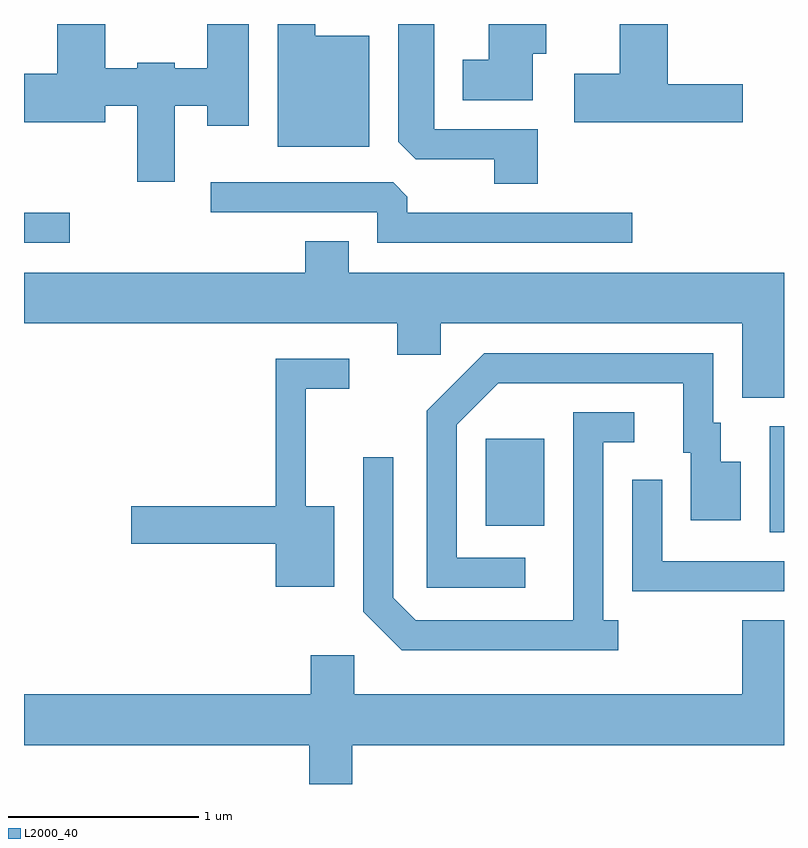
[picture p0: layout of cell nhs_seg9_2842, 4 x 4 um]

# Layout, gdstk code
import gdstk
lib = gdstk.Library(unit=1e-6, precision=1e-09)
def R(c, l, rs):  # rectangles x0, y0, x1, y1
    for r in rs: c.add(gdstk.rectangle(r[:2], r[2:], *l))
def P(c, l, *ps):  # polygons
    for p in ps: c.add(gdstk.Polygon(p, *l))
L2000_40 = (2000, 40)

nhs_seg9_2842 = lib.new_cell('nhs_seg9_2842')
R(nhs_seg9_2842, L2000_40, [(271.536,2061.756,271.611,2062.314), (270.041,2061.791,270.349,2062.249), (267.611,2063.281,267.853,2063.439)])
P(nhs_seg9_2842, L2000_40, [(268.404,2064.001),(268.576,2064.001),(268.576,2063.896),(268.794,2063.896),(268.794,2064.432),(268.576,2064.432),(268.576,2064.199),(268.404,2064.199),(268.404,2064.229),(268.206,2064.229),(268.206,2064.199),(268.039,2064.199),(268.039,2064.432),(267.786,2064.432),(267.786,2064.169),(267.611,2064.169),(267.611,2063.916),(268.039,2063.916),(268.039,2064.001),(268.206,2064.001),(268.206,2063.601),(268.404,2063.601)],
  [(271.394,2064.114),(270.999,2064.114),(270.999,2064.432),(270.746,2064.432),(270.746,2064.169),(270.506,2064.169),(270.506,2063.916),(271.394,2063.916)],
  [(270.314,2063.879),(269.769,2063.879),(269.769,2064.432),(269.581,2064.432),(269.581,2063.812),(269.672,2063.721),(270.086,2063.721),(270.086,2063.591),(270.314,2063.591)],
  [(270.289,2064.276),(270.359,2064.276),(270.359,2064.432),(270.056,2064.432),(270.056,2064.244),(269.921,2064.244),(269.921,2064.031),(270.289,2064.031)],
  [(269.429,2064.369),(269.144,2064.369),(269.144,2064.432),(268.946,2064.432),(268.946,2063.786),(269.429,2063.786)],
  [(270.813,2063.439),(269.629,2063.439),(269.629,2063.524),(269.554,2063.599),(268.593,2063.599),(268.593,2063.441),(269.471,2063.441),(269.471,2063.281),(270.813,2063.281)],
  [(271.611,2063.124),(269.319,2063.124),(269.319,2063.289),(269.091,2063.289),(269.091,2063.124),(267.611,2063.124),(267.611,2062.856),(269.576,2062.856),(269.576,2062.691),(269.804,2062.691),(269.804,2062.856),(271.391,2062.856),(271.391,2062.466),(271.611,2062.466)],
  [(270.248,2061.624),(269.889,2061.624),(269.889,2062.324),(270.107,2062.541),(271.081,2062.541),(271.081,2062.176),(271.121,2062.176),(271.121,2061.821),(271.384,2061.821),(271.384,2062.129),(271.279,2062.129),(271.279,2062.334),(271.239,2062.334),(271.239,2062.699),(270.034,2062.699),(269.731,2062.396),(269.731,2061.466),(270.248,2061.466)],
  [(269.244,2061.894),(269.094,2061.894),(269.094,2062.511),(269.323,2062.511),(269.323,2062.669),(268.936,2062.669),(268.936,2061.894),(268.176,2061.894),(268.176,2061.696),(268.936,2061.696),(268.936,2061.471),(269.244,2061.471)],
  [(270.738,2061.294),(270.659,2061.294),(270.659,2062.231),(270.823,2062.231),(270.823,2062.389),(270.501,2062.389),(270.501,2061.294),(269.672,2061.294),(269.554,2061.412),(269.554,2062.153),(269.396,2062.153),(269.396,2061.338),(269.599,2061.136),(270.738,2061.136)],
  [(271.611,2061.604),(270.969,2061.604),(270.969,2062.033),(270.811,2062.033),(270.811,2061.446),(271.611,2061.446)],
  [(269.339,2060.636),(271.611,2060.636),(271.611,2061.294),(271.391,2061.294),(271.391,2060.904),(269.349,2060.904),(269.349,2061.109),(269.121,2061.109),(269.121,2060.904),(267.611,2060.904),(267.611,2060.636),(269.111,2060.636),(269.111,2060.432),(269.339,2060.432)])

lib.write_gds('nhs_seg9_2842.gds')
